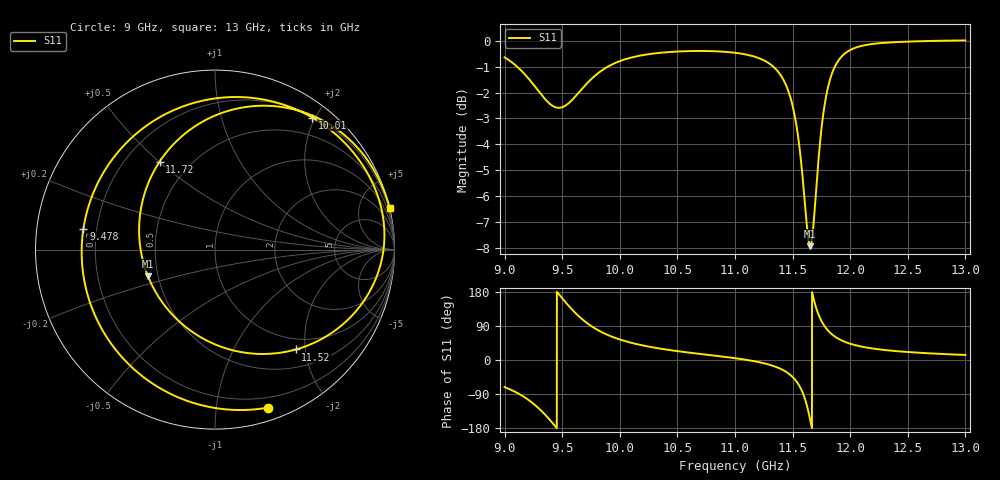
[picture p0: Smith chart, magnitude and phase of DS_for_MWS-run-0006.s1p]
! TOUCHSTONE file generated by CST DESIGN STUDIO
! Date and time: Tue Feb  4 14:10:40 2025
! Project name: C:\Work\MatlabApps\UnitCellOptimizationMatlab\CST\unitcell.cst
! Tree item: Tasks\Sweep1\SPara1\S-Parameters
! Header version: 2024
! Port assignment regex: !\s*Touchstone port\s*([0-9]+)\s*=\s*(CST MWS port|CST DES external port|CST DES block port)\s*(.+)\s* \(\"(.*)\"\)(\s*mode\s*([0-9]+))?.*
! Touchstone port assignment:
! Touchstone port 1 = CST DES external port 1 ("")
# GHz S MA R 50
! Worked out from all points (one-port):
!   4001 points, 9 GHz to 13 GHz, reference 50 ohm
!   lowest |S11| = -7.9 dB at 11.65 GHz (marker M1), VSWR 2.34, Z = 22 - j7.79 ohm
!   |S11| at or under -10 dB: nowhere
!   S11 on the Smith chart (normalised r, x): 9 GHz: 0.11, -1.38; 9.478 GHz: 0.15, +0.08; 10.01 GHz: 0.22, +1.96; 11.52 GHz: 0.80, -1.82; 11.72 GHz: 0.34, +0.50; 13 GHz: -0.02, +8.57
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9  0.9281 -71.6
9.144  0.8756 -92.8
9.255  0.8203 -116.5
9.381  0.7594 -154.1
9.478  0.7423 170.9
9.5  0.7441 162.9
9.604  0.7762 127.3
9.704  0.8222 100.1
9.849  0.8776 72.6
10  0.9129 54.1
10.005  0.9137 53.6
10.216  0.9388 37.4
10.5  0.9526 23.4
11  0.9473 4.8
11.333  0.8905 -15.7
11.428  0.8342 -28.5
11.5  0.749 -44.9
11.519  0.7157 -51.0
11.592  0.53 -89.5
11.653  0.4019 -158.3
11.686  0.455 157.3
11.722  0.5795 122.1
11.763  0.713 96.1
11.811  0.8195 76.6
11.894  0.9128 56.7
12  0.959 43.0
12.5  0.9954 21.0
13  1.001 13.3
